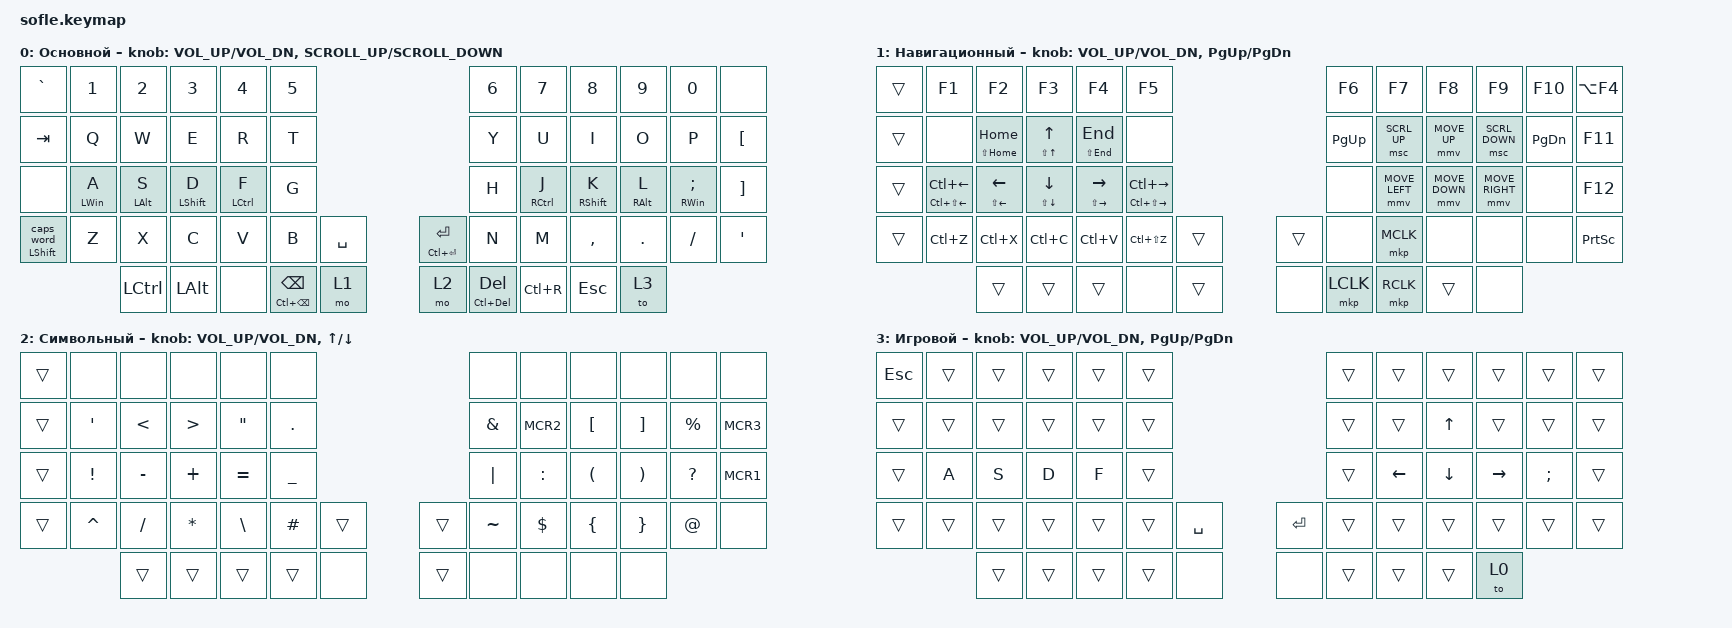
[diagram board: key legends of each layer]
// Настройки мыши

#define ZMK_POINTING_DEFAULT_MOVE_VAL 1800  // быстрый курсор
#define ZMK_POINTING_DEFAULT_SCRL_VAL 20    // комфортная прокрутка

#include <dt-bindings/zmk/mouse.h>
#include <behaviors.dtsi>
#include <dt-bindings/zmk/keys.h>
#include <dt-bindings/zmk/pointing.h>

&mmv {
    time-to-max-speed-ms = <500>;  // плавный разгон ~0.5 с
    acceleration-exponent = <1>;   // линейное ускорение, предсказуемое
    delay-ms = <0>;
};

&msc {
    time-to-max-speed-ms = <300>;
    acceleration-exponent = <0>;   // прокрутка без ускорения
    delay-ms = <0>;
};

/ {
    behaviors {
        ht: hold_tap_thumb {
            compatible = "zmk,behavior-hold-tap";
            #binding-cells = <2>;
            bindings = <&kp>, <&kp>;

            flavor = "tap-preferred";
            tapping-term-ms = <220>;
            quick-tap-ms = <150>;
        };

        // Левый Shift: удержание — Shift, одиночный тап — Caps Word
        // (EXAMPLE_CONST: тап Shift, набрать, пробел/точка/Enter завершают)

        sft_cw: shift_caps_word {
            compatible = "zmk,behavior-hold-tap";
            #binding-cells = <2>;
            bindings = <&kp>, <&caps_word>;

            flavor = "hold-preferred";     // Shift срабатывает сразу при нажатии другой клавиши
            tapping-term-ms = <200>;
        };

        // Левая рука: мод срабатывает, только если следующая клавиша справа

        hml: home_row_mod_left {
            compatible = "zmk,behavior-hold-tap";
            #binding-cells = <2>;
            bindings = <&kp>, <&kp>;

            flavor = "balanced";
            tapping-term-ms = <220>;
            quick-tap-ms = <175>;          // повторное нажатие => гарантированный тап
            require-prior-idle-ms = <150>; // в потоке набора мод не срабатывает вовсе
            hold-trigger-on-release;       // чтобы можно было собрать Ctrl+Shift+…
            hold-trigger-key-positions = <
                 6  7  8  9 10 11
                18 19 20 21 22 23
                30 31 32 33 34 35
                42 43 44 45 46 47 48 49
                50 51 52 53 54 55 56 57 58 59
            >;
        };

        // Правая рука: зеркально

        hmr: home_row_mod_right {
            compatible = "zmk,behavior-hold-tap";
            #binding-cells = <2>;
            bindings = <&kp>, <&kp>;

            flavor = "balanced";
            tapping-term-ms = <220>;
            quick-tap-ms = <175>;
            require-prior-idle-ms = <150>;
            hold-trigger-on-release;
            hold-trigger-key-positions = <
                 0  1  2  3  4  5
                12 13 14 15 16 17
                24 25 26 27 28 29
                36 37 38 39 40 41
                42 43
                50 51 52 53 54 55 56 57 58 59
            >;
        };
    };
};

/ {
    macros {
        MCR1: MCR1 {
            compatible = "zmk,behavior-macro";
            #binding-cells = <0>;
            bindings = <&kp END &kp SEMICOLON &kp ENTER &kp LEFT_BRACE &kp ENTER>;
            label = "MCR1";
        };

        MCR2: MCR2 {
            compatible = "zmk,behavior-macro";
            #binding-cells = <0>;
            bindings = <&kp COLON &kp COLON>;
            label = "MCR2";
        };

        MCR3: MCR3 {
            compatible = "zmk,behavior-macro";
            #binding-cells = <0>;
            bindings = <&kp LC(ENTER) &kp LEFT_BRACE &kp ENTER>;
            label = "MCR3";
        };
    };

    combos { compatible = "zmk,combos"; };

    keymap {
        compatible = "zmk,keymap";

        base_layer {
            display-name = "Основной";
            bindings = <
&kp GRAVE       &kp N1           &kp N2           &kp N3                       &kp N4        &kp N5  &kp N6           &kp N7               &kp N8              &kp N9            &kp N0               &none
&kp TAB         &kp Q            &kp W            &kp E                        &kp R         &kp T   &kp Y            &kp U                &kp I               &kp O             &kp P                &kp LEFT_BRACKET
&none           &hml LEFT_WIN A  &hml LEFT_ALT S  &hml LEFT_SHIFT D            &hml LCTRL F  &kp G   &kp H            &hmr RCTRL J         &hmr RIGHT_SHIFT K  &hmr RIGHT_ALT L  &hmr RIGHT_WIN SEMI  &kp RIGHT_BRACKET
&sft_cw LEFT_SHIFT 0  &kp Z            &kp X            &kp C                        &kp V         &kp B   &kp SPACE        &ht LC(ENTER) ENTER  &kp N               &kp M             &kp COMMA            &kp DOT            &kp FSLH  &kp SQT
&kp LCTRL       &kp LEFT_ALT     &none            &ht LC(BACKSPACE) BACKSPACE  &mo 1         &mo 2   &ht LC(DEL) DEL  &kp LC(R)            &kp ESCAPE          &to 3
            >;

            sensor-bindings =
                <&inc_dec_kp C_VOL_UP C_VOL_DN>,
                <&inc_dec_kp K_SCROLL_UP K_SCROLL_DOWN>;
        };

        navigation_layer {
            display-name = "Навигационный";
            bindings = <
&trans  &kp F1                                 &kp F2                         &kp F3                         &kp F4                           &kp F5                                   &kp F6       &kp F7          &kp F8          &kp F9           &kp F10        &kp LA(F4)
&trans  &none                                  &ht LS(HOME) HOME              &ht LS(UP_ARROW) UP_ARROW      &ht LS(END) END                  &none                                    &kp PAGE_UP  &msc SCRL_UP    &mmv MOVE_UP    &msc SCRL_DOWN   &kp PAGE_DOWN  &kp F11
&trans  &ht LC(LS(LEFT_ARROW)) LC(LEFT_ARROW)  &ht LS(LEFT_ARROW) LEFT_ARROW  &ht LS(DOWN_ARROW) DOWN_ARROW  &ht LS(RIGHT_ARROW) RIGHT_ARROW  &ht LC(LS(RIGHT_ARROW)) LC(RIGHT_ARROW)  &none        &mmv MOVE_LEFT  &mmv MOVE_DOWN  &mmv MOVE_RIGHT  &none          &kp F12
&trans  &kp LC(Z)                              &kp LC(X)                      &kp LC(C)                      &kp LC(V)                        &kp LC(LS(Z))                            &trans       &trans          &none           &mkp MCLK        &none          &none       &none  &kp PRINTSCREEN
&trans  &trans                                 &trans                         &none                          &trans                           &none                                    &mkp LCLK    &mkp RCLK       &trans          &none
            >;

            sensor-bindings = <&inc_dec_kp C_VOL_UP C_VOL_DN &inc_dec_kp PG_UP PG_DN>;
        };

        symbol_layer {
            display-name = "Символьный";
            bindings = <
&trans  &none            &none          &none             &none              &none           &none          &none      &none                 &none                  &none           &none
&trans  &kp SQT          &kp LESS_THAN  &kp GREATER_THAN  &kp DOUBLE_QUOTES  &kp DOT         &kp AMPERSAND  &MCR2      &kp LEFT_BRACKET      &kp RIGHT_BRACKET      &kp PERCENT     &MCR3
&trans  &kp EXCLAMATION  &kp MINUS      &kp PLUS          &kp EQUAL          &kp UNDERSCORE  &kp PIPE       &kp COLON  &kp LEFT_PARENTHESIS  &kp RIGHT_PARENTHESIS  &kp QUESTION    &MCR1
&trans  &kp CARET        &kp SLASH      &kp ASTERISK      &kp BACKSLASH      &kp HASH        &trans         &trans     &kp TILDE             &kp DOLLAR             &kp LEFT_BRACE  &kp RIGHT_BRACE  &kp AT_SIGN  &none
&trans  &trans           &trans         &trans            &none              &trans          &none          &none      &none                 &none
            >;

            sensor-bindings = <&inc_dec_kp C_VOL_UP C_VOL_DN &inc_dec_kp UP DOWN>;
        };

        gaming_layer {
            display-name = "Игровой";
            bindings = <
&kp ESCAPE  &trans  &trans  &trans  &trans  &trans  &trans     &trans          &trans          &trans           &trans         &trans
&trans      &trans  &trans  &trans  &trans  &trans  &trans     &trans          &kp UP_ARROW    &trans           &trans         &trans
&trans      &kp A   &kp S   &kp D   &kp F   &trans  &trans     &kp LEFT_ARROW  &kp DOWN_ARROW  &kp RIGHT_ARROW  &kp SEMICOLON  &trans
&trans      &trans  &trans  &trans  &trans  &trans  &kp SPACE  &kp ENTER       &trans          &trans           &trans         &trans  &trans  &trans
&trans      &trans  &trans  &trans  &none   &none   &trans     &trans          &trans          &to 0
            >;

            sensor-bindings = <&inc_dec_kp C_VOL_UP C_VOL_DN &inc_dec_kp PG_UP PG_DN>;
        };
    };
};
